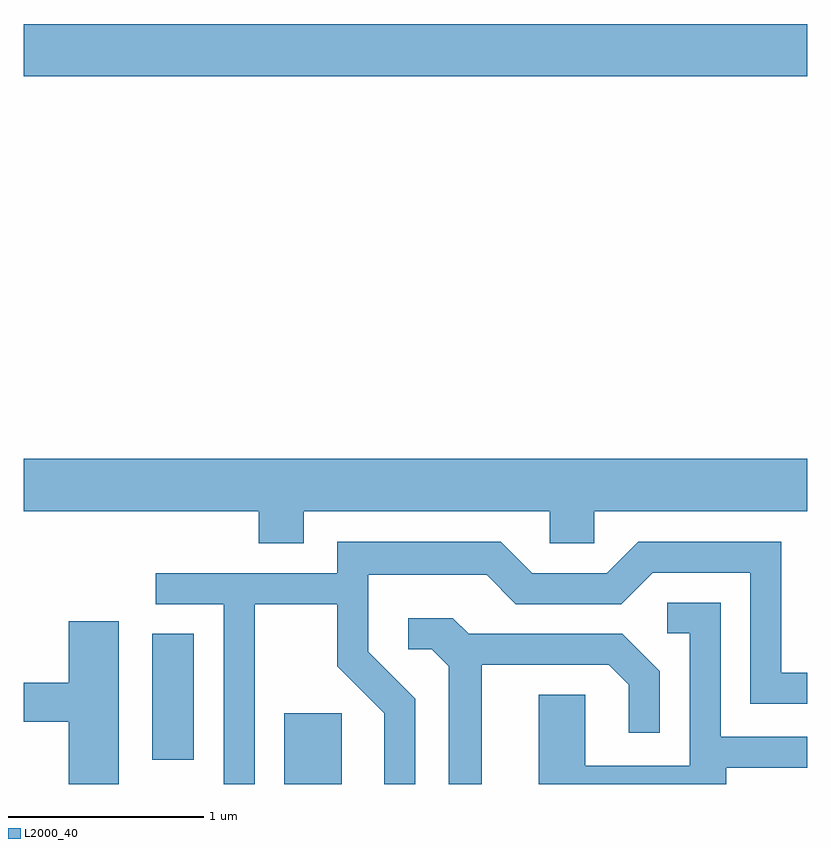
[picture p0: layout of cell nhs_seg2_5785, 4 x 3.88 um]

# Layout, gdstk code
import gdstk
lib = gdstk.Library(unit=1e-6, precision=1e-09)
def R(c, l, rs):  # rectangles x0, y0, x1, y1
    for r in rs: c.add(gdstk.rectangle(r[:2], r[2:], *l))
def P(c, l, *ps):  # polygons
    for p in ps: c.add(gdstk.Polygon(p, *l))
L2000_40 = (2000, 40)

nhs_seg2_5785 = lib.new_cell('nhs_seg2_5785')
R(nhs_seg2_5785, L2000_40, [(356.941,1055.802,357.234,1056.164), (356.266,1055.926,356.479,1056.569), (355.611,1059.416,359.611,1059.684)])
P(nhs_seg2_5785, L2000_40, [(357.039,1057.196),(358.296,1057.196),(358.296,1057.031),(358.524,1057.031),(358.524,1057.196),(359.611,1057.196),(359.611,1057.464),(355.611,1057.464),(355.611,1057.196),(356.811,1057.196),(356.811,1057.031),(357.039,1057.031)],
  [(356.789,1056.721),(357.211,1056.721),(357.211,1056.404),(357.451,1056.164),(357.451,1055.802),(357.609,1055.802),(357.609,1056.237),(357.369,1056.477),(357.369,1056.871),(357.974,1056.871),(358.124,1056.721),(358.662,1056.721),(358.822,1056.881),(359.321,1056.881),(359.321,1056.211),(359.611,1056.211),(359.611,1056.369),(359.479,1056.369),(359.479,1057.039),(358.749,1057.039),(358.589,1056.879),(358.207,1056.879),(358.047,1057.039),(357.211,1057.039),(357.211,1056.879),(356.283,1056.879),(356.283,1056.721),(356.631,1056.721),(356.631,1055.802),(356.789,1055.802)],
  [(359.199,1055.886),(359.611,1055.886),(359.611,1056.044),(359.169,1056.044),(359.169,1056.729),(358.898,1056.729),(358.898,1056.571),(359.011,1056.571),(359.011,1055.894),(358.479,1055.894),(358.479,1056.259),(358.241,1056.259),(358.241,1055.802),(359.199,1055.802)],
  [(357.949,1056.411),(358.599,1056.411),(358.701,1056.309),(358.701,1056.063),(358.859,1056.063),(358.859,1056.377),(358.667,1056.569),(357.882,1056.569),(357.802,1056.649),(357.573,1056.649),(357.573,1056.491),(357.694,1056.491),(357.781,1056.404),(357.781,1055.802),(357.949,1055.802)],
  [(356.094,1056.634),(355.841,1056.634),(355.841,1056.319),(355.611,1056.319),(355.611,1056.121),(355.841,1056.121),(355.841,1055.802),(356.094,1055.802)])

lib.write_gds('nhs_seg2_5785.gds')
